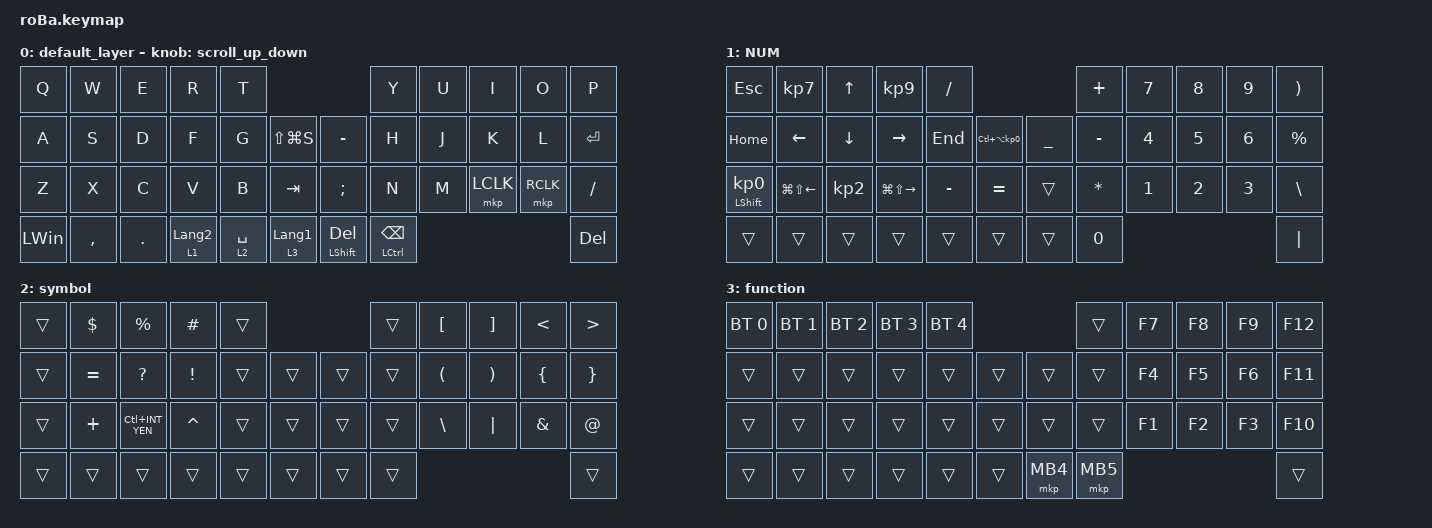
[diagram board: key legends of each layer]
#include <behaviors.dtsi>
#include <dt-bindings/zmk/bt.h>
#include <dt-bindings/zmk/keys.h>
#include <dt-bindings/zmk/pointing.h>

#define ZMK_POINTING_DEFAULT_SCRL_VAL 75

&mt {
    flavor = "balanced";
    quick-tap-ms = <0>;
};

&trackball {
    automouse-layer = <4>;
    scroll-layers = <3>;

    // arrows {
    //     layers = <3>;
    //     bindings =
    //         <&kp RIGHT_ARROW>,
    //         <&kp LEFT_ARROW>,
    //         <&kp UP_ARROW>,
    //         <&kp DOWN_ARROW>;
    //     tick = <10>;
    //     wait-ms = <5>;
    //     tap-ms = <5>;
    // };
};

/ {
    combos {
        compatible = "zmk,combos";

        tab {
            bindings = <&kp TAB>;
            key-positions = <11 12>;
        };

        shift_tab {
            bindings = <&kp LS(TAB)>;
            key-positions = <12 13>;
        };

        muhennkann {
            bindings = <&to_layer_0 INT_MUHENKAN>;
            key-positions = <11 10>;
        };

        double_quotation {
            bindings = <&kp DOUBLE_QUOTES>;
            key-positions = <20 21>;
        };

        eq {
            bindings = <&kp EQUAL>;
            key-positions = <24 25>;
        };
    };

    macros {
        to_layer_0: to_layer_0 {
            compatible = "zmk,behavior-macro-one-param";
            #binding-cells = <1>;
            bindings = <&to 0 &macro_param_1to1 &kp MACRO_PLACEHOLDER>;
            label = "TO_LAYER_0";
        };
    };

    behaviors {
        lt_to_layer_0: lt_to_layer_0 {
            compatible = "zmk,behavior-hold-tap";
            label = "LAYER_TAP_TO_0";
            bindings = <&mo>, <&to_layer_0>;

            #binding-cells = <2>;
            tapping-term-ms = <200>;
        };

        scroll_up_down: behavior_sensor_rotate_mouse_wheel_up_down {
            compatible = "zmk,behavior-sensor-rotate";
            #sensor-binding-cells = <0>;
            bindings = <&msc SCRL_DOWN>, <&msc SCRL_UP>;

            // 追加: スクロールのタップ時間を設定 (20ms)

            tap-ms = <20>;
        };
    };

    keymap {
        compatible = "zmk,keymap";

        default_layer {
            bindings = <
&kp Q         &kp W      &kp E       &kp R             &kp T                                                     &kp Y                       &kp U  &kp I      &kp O      &kp P
&kp A         &kp S      &kp D       &kp F             &kp G        &kp LS(LG(S))         &kp MINUS              &kp H                       &kp J  &kp K      &kp L      &kp ENTER
&kp Z         &kp X      &kp C       &kp V             &kp B        &kp TAB               &kp SEMICOLON          &kp N                       &kp M  &mkp LCLK  &mkp RCLK  &kp SLASH
&kp LEFT_WIN  &kp COMMA  &kp PERIOD  &lt 1 LANGUAGE_2  &lt 2 SPACE  &lt 3 LANGUAGE_1      &mt LEFT_SHIFT DELETE  &mt LEFT_CONTROL BACKSPACE                               &kp DEL
            >;

            sensor-bindings = <&scroll_up_down>;
        };

        NUM {
            bindings = <
&kp ESC                     &kp KP_NUMBER_7         &kp UP_ARROW     &kp KP_NUMBER_9          &kp SLASH                                               &kp PLUS      &kp NUMBER_7  &kp NUMBER_8  &kp NUMBER_9  &kp RIGHT_PARENTHESIS
&kp HOME                    &kp LEFT_ARROW          &kp DOWN_ARROW   &kp RIGHT_ARROW          &kp END    &kp LC(LA(KP_NUMBER_0))      &kp UNDERSCORE  &kp MINUS     &kp NUMBER_4  &kp NUMBER_5  &kp NUMBER_6  &kp PERCENT
&mt LEFT_SHIFT KP_NUMBER_0  &kp LG(LS(LEFT_ARROW))  &kp KP_NUMBER_2  &kp LG(LS(RIGHT_ARROW))  &kp MINUS  &kp EQUAL                    &trans          &kp ASTRK     &kp NUMBER_1  &kp NUMBER_2  &kp NUMBER_3  &kp BACKSLASH
&trans                      &trans                  &trans           &trans                   &trans     &trans                       &trans          &kp NUMBER_0                                            &kp PIPE
            >;
        };

        symbol {
            bindings = <
&trans  &kp DOLLAR  &kp PERCENT      &kp HASH         &trans                      &trans  &kp LEFT_BRACKET      &kp RIGHT_BRACKET  &kp LESS_THAN   &kp GREATER_THAN
&trans  &kp EQUAL   &kp QUESTION     &kp EXCLAMATION  &trans  &trans      &trans  &trans  &kp LEFT_PARENTHESIS  &kp RPAR           &kp LEFT_BRACE  &kp RIGHT_BRACE
&trans  &kp PLUS    &kp LC(INT_YEN)  &kp CARET        &trans  &trans      &trans  &trans  &kp BACKSLASH         &kp PIPE           &kp AMPERSAND   &kp AT_SIGN
&trans  &trans      &trans           &trans           &trans  &trans      &trans  &trans                                                           &trans
            >;
        };

        function {
            bindings = <
&bt BT_SEL 0  &bt BT_SEL 1  &bt BT_SEL 2  &bt BT_SEL 3  &bt BT_SEL 4                        &trans    &kp F7  &kp F8  &kp F9  &kp F12
&trans        &trans        &trans        &trans        &trans        &trans      &trans    &trans    &kp F4  &kp F5  &kp F6  &kp F11
&trans        &trans        &trans        &trans        &trans        &trans      &trans    &trans    &kp F1  &kp F2  &kp F3  &kp F10
&trans        &trans        &trans        &trans        &trans        &trans      &mkp MB4  &mkp MB5                          &trans
            >;
        };
    };
};
